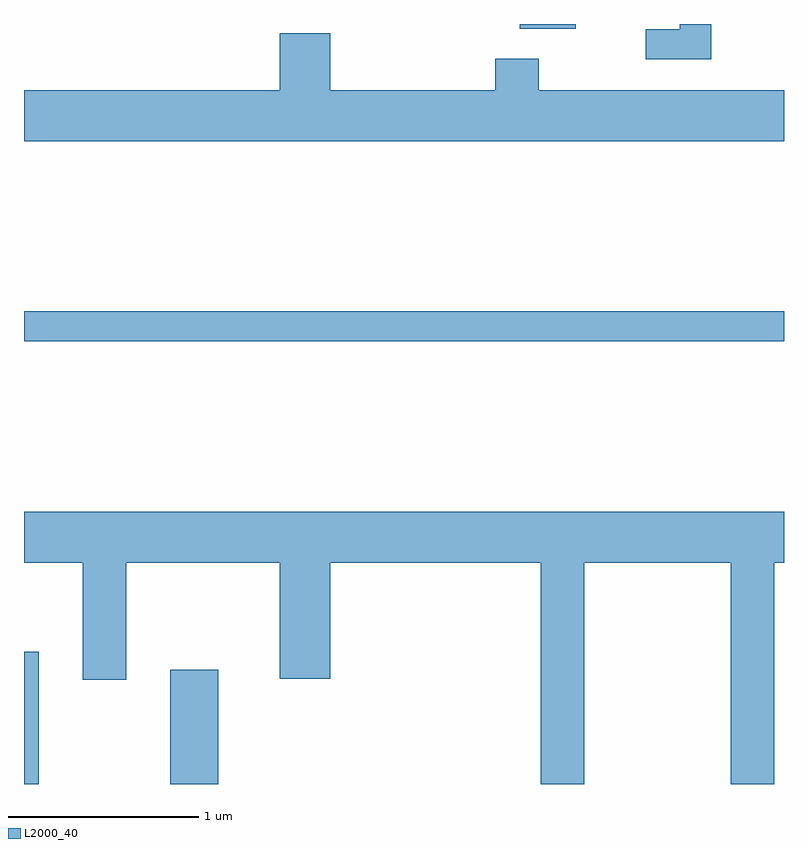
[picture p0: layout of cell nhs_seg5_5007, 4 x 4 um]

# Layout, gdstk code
import gdstk
lib = gdstk.Library(unit=1e-6, precision=1e-09)
def R(c, l, rs):  # rectangles x0, y0, x1, y1
    for r in rs: c.add(gdstk.rectangle(r[:2], r[2:], *l))
def P(c, l, *ps):  # polygons
    for p in ps: c.add(gdstk.Polygon(p, *l))
L2000_40 = (2000, 40)

nhs_seg5_5007 = lib.new_cell('nhs_seg5_5007')
R(nhs_seg5_5007, L2000_40, [(333.611,1460.072,333.689,1460.769), (334.381,1460.072,334.634,1460.674), (333.611,1462.401,337.611,1462.559), (336.221,1464.046,336.514,1464.072)])
P(nhs_seg5_5007, L2000_40, [(337.229,1464.072),(337.061,1464.072),(337.061,1464.044),(336.883,1464.044),(336.883,1463.886),(337.229,1463.886)],
  [(337.611,1463.724),(336.319,1463.724),(336.319,1463.889),(336.091,1463.889),(336.091,1463.724),(335.224,1463.724),(335.224,1464.024),(334.956,1464.024),(334.956,1463.724),(333.611,1463.724),(333.611,1463.456),(337.611,1463.456)],
  [(336.559,1461.236),(337.331,1461.236),(337.331,1460.072),(337.559,1460.072),(337.559,1461.236),(337.611,1461.236),(337.611,1461.504),(333.611,1461.504),(333.611,1461.236),(333.921,1461.236),(333.921,1460.621),(334.149,1460.621),(334.149,1461.236),(334.956,1461.236),(334.956,1460.626),(335.224,1460.626),(335.224,1461.236),(336.331,1461.236),(336.331,1460.072),(336.559,1460.072)])

lib.write_gds('nhs_seg5_5007.gds')
